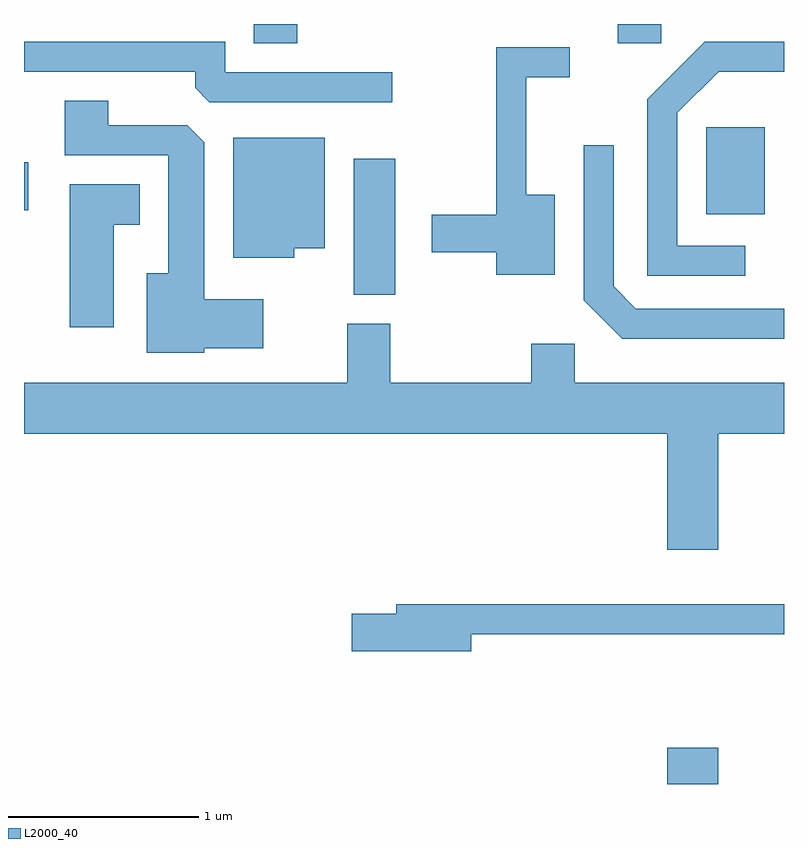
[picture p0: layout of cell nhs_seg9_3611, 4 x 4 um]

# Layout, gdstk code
import gdstk
lib = gdstk.Library(unit=1e-6, precision=1e-09)
def R(c, l, rs):  # rectangles x0, y0, x1, y1
    for r in rs: c.add(gdstk.rectangle(r[:2], r[2:], *l))
def P(c, l, *ps):  # polygons
    for p in ps: c.add(gdstk.Polygon(p, *l))
L2000_40 = (2000, 40)

nhs_seg9_3611 = lib.new_cell('nhs_seg9_3611')
R(nhs_seg9_3611, L2000_40, [(294.996,1974.432,295.264,1974.624), (293.346,1977.006,293.564,1977.724), (295.201,1977.431,295.509,1977.889), (291.611,1977.451,291.634,1977.704), (292.821,1978.331,293.049,1978.432), (294.736,1978.331,294.964,1978.432)])
P(nhs_seg9_3611, L2000_40, [(293.548,1978.179),(292.669,1978.179),(292.669,1978.339),(291.611,1978.339),(291.611,1978.181),(292.511,1978.181),(292.511,1978.097),(292.587,1978.021),(293.548,1978.021)],
  [(295.408,1977.264),(295.049,1977.264),(295.049,1977.964),(295.267,1978.181),(295.611,1978.181),(295.611,1978.339),(295.194,1978.339),(294.891,1978.037),(294.891,1977.106),(295.408,1977.106)],
  [(294.404,1977.534),(294.254,1977.534),(294.254,1978.151),(294.483,1978.151),(294.483,1978.309),(294.096,1978.309),(294.096,1977.429),(293.756,1977.429),(293.756,1977.231),(294.096,1977.231),(294.096,1977.111),(294.404,1977.111)],
  [(292.559,1976.726),(292.869,1976.726),(292.869,1976.984),(292.559,1976.984),(292.559,1977.809),(292.469,1977.899),(292.054,1977.899),(292.054,1978.029),(291.826,1978.029),(291.826,1977.741),(292.371,1977.741),(292.371,1977.119),(292.256,1977.119),(292.256,1976.701),(292.559,1976.701)],
  [(293.034,1977.251),(293.194,1977.251),(293.194,1977.834),(292.711,1977.834),(292.711,1977.201),(293.034,1977.201)],
  [(295.611,1976.934),(294.832,1976.934),(294.714,1977.052),(294.714,1977.793),(294.556,1977.793),(294.556,1976.979),(294.759,1976.776),(295.611,1976.776)],
  [(292.084,1977.376),(292.219,1977.376),(292.219,1977.589),(291.851,1977.589),(291.851,1976.836),(292.084,1976.836)],
  [(295.264,1976.276),(295.611,1976.276),(295.611,1976.544),(294.509,1976.544),(294.509,1976.749),(294.281,1976.749),(294.281,1976.544),(293.539,1976.544),(293.539,1976.854),(293.311,1976.854),(293.311,1976.544),(291.611,1976.544),(291.611,1976.276),(294.996,1976.276),(294.996,1975.666),(295.264,1975.666)],
  [(293.964,1975.221),(295.611,1975.221),(295.611,1975.379),(293.571,1975.379),(293.571,1975.329),(293.336,1975.329),(293.336,1975.131),(293.964,1975.131)])

lib.write_gds('nhs_seg9_3611.gds')
